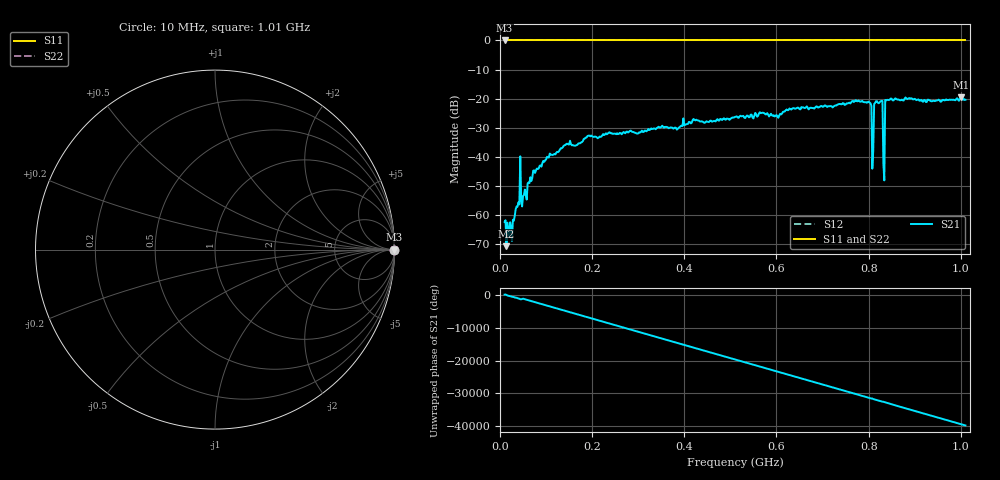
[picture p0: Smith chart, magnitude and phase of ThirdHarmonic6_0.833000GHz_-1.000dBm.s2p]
! 8/16/2025 3:39:04 AM
! C:\ANRITSUVNA\TEMP\TEMP.S2P
! CHANNEL.1
! TR.MEASUREMENT
! RAW.DATA
! RF.CORRECTION.OFF
! AVERAGING.OFF
! IF.BANDWIDTH: 5KHZ
! SWEEPTYPE:  FREQ.SWEEP(Linear)
! Reference Plane Port Info
! PORT:  PORT1  PORT2
! DISTANCE:  0  m  0  m
! TIME:  0  s  0  s
! PHASE.OFFSET:  0  deg.  0  deg.
! LOSS:  0  dB  0  dB
! REF.LOSS:  0  dB  0  dB
! REF.FREQ:  0  Hz  0  Hz
! Power Info
! POWER:  -20  dBm  -20  dBm
! EFF.POWER:  -20  dBm  -20  dBm
! SOURCE.ATTEN:  0  dB  0  dB
! TEST.ATTEN:  0  dB  0  dB
# GHZ S RI R 50.0
! FREQ.GHZ  S11RE  S11IM  S21RE  S21IM  S12RE  S12IM  S22RE  S22IM
!; PortSelection: Port_12
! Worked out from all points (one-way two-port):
!   501 points, 10 MHz to 1.01 GHz, reference 50 ohm
!   highest |S21| = -19.46 dB at 1 GHz (marker M1); lowest = -70.6 dB at 14 MHz (marker M2)
!   lowest |S11| = 0.0 dB at 10 MHz (marker M3)
!   |S11| at or under -10 dB: nowhere
!   |S22| runs from 0.0 to 0.0 dB; largest |S21 - S12| = 1.1
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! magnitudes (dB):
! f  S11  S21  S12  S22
! 10 MHz  0.0  -62.3  0.0  0.0
! 14 MHz  0.0  -70.6  0.0  0.0
! 22 MHz  0.0  -62.4  0.0  0.0
! 40 MHz  0.0  -55.6  0.0  0.0
! 54 MHz  0.0  -51.2  0.0  0.0
! 76 MHz  0.0  -45.5  0.0  0.0
! 178 MHz  0.0  -34.9  0.0  0.0
! 344 MHz  0.0  -29.6  0.0  0.0
! 510 MHz  0.0  -26.2  0.0  0.0
! 678 MHz  0.0  -23.2  0.0  0.0
! 800 MHz  0.0  -21.0  0.0  0.0
! 802 MHz  0.0  -21.3  0.0  0.0
! 806 MHz  0.0  -22.4  0.0  0.0
! 810 MHz  0.0  -37.8  0.0  0.0
! 816 MHz  0.0  -20.9  0.0  0.0
! 826 MHz  0.0  -20.9  0.0  0.0
! 830 MHz  0.0  -20.8  0.0  0.0
! 836 MHz  0.0  -20.4  0.0  0.0
! 840 MHz  0.0  -20.4  0.0  0.0
! 844 MHz  0.0  -20.4  0.0  0.0
! 1 GHz  0.0  -19.5  0.0  0.0
! 1.01 GHz  0.0  -20.4  0.0  0.0
